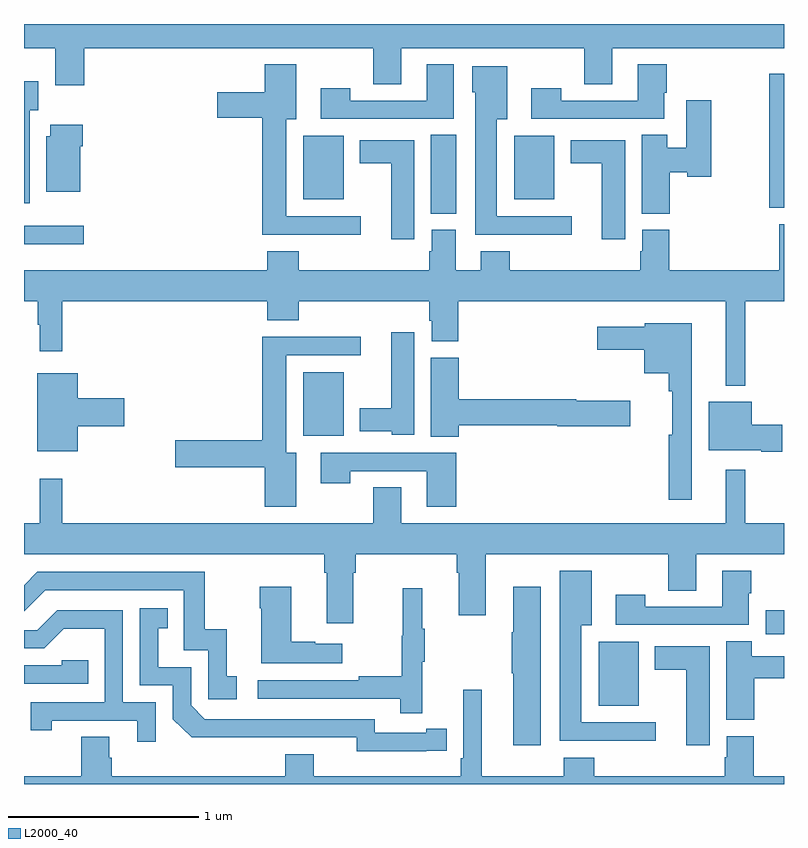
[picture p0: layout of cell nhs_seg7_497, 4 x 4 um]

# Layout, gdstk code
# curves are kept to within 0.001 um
import gdstk
lib = gdstk.Library(unit=1e-6, precision=1e-09)
def R(c, l, rs):  # rectangles x0, y0, x1, y1
    for r in rs: c.add(gdstk.rectangle(r[:2], r[2:], *l))
def P(c, l, *ps):  # polygons
    for p in ps: c.add(gdstk.Polygon(p, *l))
L2000_40 = (2000, 40)

nhs_seg7_497 = lib.new_cell('nhs_seg7_497')
R(nhs_seg7_497, L2000_40, [(152.024,1074.413,152.236,1074.748), (152.904,1074.788,153,1074.915), (150.47,1075.832,150.682,1076.167), (149,1076.84,149.314,1076.937), (151.142,1077.001,151.276,1077.416), (152.923,1077.032,153,1077.739), (150.47,1077.077,150.682,1077.412), (151.58,1077.077,151.792,1077.412)])
P(nhs_seg7_497, L2000_40, [(149.318,1077.872),(150.838,1077.872),(150.838,1077.682),(150.985,1077.682),(150.985,1077.872),(151.948,1077.872),(151.948,1077.682),(152.095,1077.682),(152.095,1077.872),(153,1077.872),(153,1078),(149,1078),(149,1077.872),(149.165,1077.872),(149.165,1077.678),(149.318,1077.678)],
  [(152.371,1077.639),(152.384,1077.639),(152.384,1077.787),(152.231,1077.787),(152.231,1077.597),(151.827,1077.597),(151.827,1077.661),(151.671,1077.661),(151.671,1077.501),(152.371,1077.501)],
  [(151.261,1077.787),(151.121,1077.787),(151.121,1077.597),(150.717,1077.597),(150.717,1077.661),(150.561,1077.661),(150.561,1077.501),(151.261,1077.501)],
  [(150.772,1076.988),(150.379,1076.988),(150.379,1077.5),(150.433,1077.5),(150.433,1077.787),(150.266,1077.787),(150.266,1077.64),(150.018,1077.64),(150.018,1077.506),(150.254,1077.506),(150.254,1076.891),(150.772,1076.891)],
  [(151.882,1076.988),(151.489,1076.988),(151.489,1077.5),(151.543,1077.5),(151.543,1077.778),(151.358,1077.778),(151.358,1077.642),(151.376,1077.642),(151.376,1076.891),(151.882,1076.891)],
  [(149.029,1077.546),(149.074,1077.546),(149.074,1077.7),(149,1077.7),(149,1077.057),(149.029,1077.057)],
  [(152.399,1077.22),(152.49,1077.22),(152.49,1077.197),(152.616,1077.197),(152.616,1077.598),(152.486,1077.598),(152.486,1077.349),(152.386,1077.349),(152.386,1077.416),(152.252,1077.416),(152.252,1077.001),(152.399,1077.001)],
  [(149.296,1077.356),(149.309,1077.356),(149.309,1077.469),(149.138,1077.469),(149.138,1077.408),(149.117,1077.408),(149.117,1077.116),(149.296,1077.116)],
  [(152.164,1077.388),(151.877,1077.388),(151.877,1077.266),(152.042,1077.266),(152.042,1076.868),(152.164,1076.868)],
  [(151.054,1077.388),(150.767,1077.388),(150.767,1077.266),(150.932,1077.266),(150.932,1076.868),(151.054,1076.868)],
  [(152.797,1076.54),(153,1076.54),(153,1076.947),(152.975,1076.947),(152.975,1076.704),(152.396,1076.704),(152.396,1076.916),(152.255,1076.916),(152.255,1076.805),(152.243,1076.805),(152.243,1076.704),(151.556,1076.704),(151.556,1076.803),(151.403,1076.803),(151.403,1076.704),(151.273,1076.704),(151.273,1076.916),(151.145,1076.916),(151.145,1076.805),(151.133,1076.805),(151.133,1076.704),(150.446,1076.704),(150.446,1076.803),(150.281,1076.803),(150.281,1076.704),(149,1076.704),(149,1076.54),(149.073,1076.54),(149.073,1076.417),(149.084,1076.417),(149.084,1076.277),(149.201,1076.277),(149.201,1076.54),(150.281,1076.54),(150.281,1076.441),(150.446,1076.441),(150.446,1076.54),(151.133,1076.54),(151.133,1076.439),(151.145,1076.439),(151.145,1076.329),(151.286,1076.329),(151.286,1076.54),(152.693,1076.54),(152.693,1076.096),(152.797,1076.096)],
  [(152.515,1076.425),(152.268,1076.425),(152.268,1076.407),(152.016,1076.407),(152.016,1076.285),(152.264,1076.285),(152.264,1076.162),(152.394,1076.162),(152.394,1076.066),(152.411,1076.066),(152.411,1075.838),(152.394,1075.838),(152.394,1075.497),(152.515,1075.497)],
  [(151.054,1076.377),(150.932,1076.377),(150.932,1075.978),(150.767,1075.978),(150.767,1075.856),(150.936,1075.856),(150.936,1075.838),(151.054,1075.838)],
  [(150.433,1075.744),(150.379,1075.744),(150.379,1076.256),(150.772,1076.256),(150.772,1076.354),(150.254,1076.354),(150.254,1075.808),(149.796,1075.808),(149.796,1075.666),(150.266,1075.666),(150.266,1075.458),(150.433,1075.458)],
  [(151.289,1075.888),(151.806,1075.888),(151.806,1075.883),(152.191,1075.883),(152.191,1076.017),(151.906,1076.017),(151.906,1076.024),(151.289,1076.024),(151.289,1076.244),(151.142,1076.244),(151.142,1075.828),(151.289,1075.828)],
  [(149.284,1075.883),(149.527,1075.883),(149.527,1076.03),(149.284,1076.03),(149.284,1076.161),(149.069,1076.161),(149.069,1075.751),(149.284,1075.751)],
  [(152.992,1075.892),(152.83,1075.892),(152.83,1076.011),(152.603,1076.011),(152.603,1075.757),(152.879,1075.757),(152.879,1075.75),(152.992,1075.75)],
  [(151.274,1075.743),(150.561,1075.743),(150.561,1075.584),(150.717,1075.584),(150.717,1075.647),(151.121,1075.647),(151.121,1075.458),(151.274,1075.458)],
  [(150.733,1075.112),(150.746,1075.112),(150.746,1075.208),(151.277,1075.208),(151.277,1075.112),(151.289,1075.112),(151.289,1074.888),(151.429,1074.888),(151.429,1075.208),(152.392,1075.208),(152.392,1075.018),(152.539,1075.018),(152.539,1075.208),(153,1075.208),(153,1075.372),(152.797,1075.372),(152.797,1075.654),(152.693,1075.654),(152.693,1075.372),(150.985,1075.372),(150.985,1075.562),(150.838,1075.562),(150.838,1075.372),(149.201,1075.372),(149.201,1075.606),(149.084,1075.606),(149.084,1075.372),(149,1075.372),(149,1075.208),(150.581,1075.208),(150.581,1075.112),(150.593,1075.112),(150.593,1074.846),(150.733,1074.846)],
  [(152.815,1075.003),(152.828,1075.003),(152.828,1075.123),(152.675,1075.123),(152.675,1074.933),(152.271,1074.933),(152.271,1074.997),(152.115,1074.997),(152.115,1074.837),(152.815,1074.837)],
  [(152.326,1074.324),(151.933,1074.324),(151.933,1074.836),(151.987,1074.836),(151.987,1075.123),(151.82,1075.123),(151.82,1074.227),(152.326,1074.227)],
  [(150.121,1074.567),(150.068,1074.567),(150.068,1074.814),(149.95,1074.814),(149.95,1075.116),(149.07,1075.116),(149,1075.046),(149,1074.908),(149.112,1075.02),(149.841,1075.02),(149.841,1074.705),(149.97,1074.705),(149.97,1074.447),(150.121,1074.447)],
  [(150.676,1074.739),(150.533,1074.739),(150.533,1074.749),(150.406,1074.749),(150.406,1075.039),(150.241,1075.039),(150.241,1074.926),(150.248,1074.926),(150.248,1074.635),(150.676,1074.635)],
  [(151.72,1075.039),(151.574,1075.039),(151.574,1074.8),(151.567,1074.8),(151.567,1074.583),(151.574,1074.583),(151.574,1074.204),(151.72,1074.204)],
  [(151.097,1074.643),(151.108,1074.643),(151.108,1074.817),(151.097,1074.817),(151.097,1075.03),(150.994,1075.03),(150.994,1074.78),(150.987,1074.78),(150.987,1074.566),(150.763,1074.566),(150.763,1074.546),(150.231,1074.546),(150.231,1074.45),(150.979,1074.45),(150.979,1074.372),(151.097,1074.372)],
  [(151.118,1074.174),(151.226,1074.174),(151.226,1074.29),(151.118,1074.29),(151.118,1074.27),(150.846,1074.27),(150.846,1074.342),(149.952,1074.342),(149.88,1074.414),(149.88,1074.615),(149.707,1074.615),(149.707,1074.819),(149.756,1074.819),(149.756,1074.925),(149.61,1074.925),(149.61,1074.519),(149.784,1074.519),(149.784,1074.342),(149.882,1074.245),(150.75,1074.246),(150.75,1074.173)],
  [(149.694,1074.429),(149.52,1074.429),(149.52,1074.915),(149.174,1074.915),(149.069,1074.81),(149,1074.81),(149,1074.714),(149.106,1074.714),(149.21,1074.818),(149.424,1074.818),(149.424,1074.429),(149.035,1074.429),(149.035,1074.282),(149.146,1074.282),(149.146,1074.333),(149.597,1074.333),(149.597,1074.222),(149.694,1074.222)],
  [(152.843,1074.556),(153,1074.556),(153,1074.672),(152.831,1074.672),(152.831,1074.752),(152.696,1074.752),(152.696,1074.337),(152.843,1074.337)],
  [(152.608,1074.724),(152.321,1074.724),(152.321,1074.602),(152.486,1074.602),(152.486,1074.204),(152.608,1074.204)],
  [(149.339,1074.651),(149.199,1074.651),(149.199,1074.624),(149,1074.624),(149,1074.528),(149.339,1074.528)],
  [(153,1074.04),(152.84,1074.04),(152.84,1074.252),(152.699,1074.252),(152.699,1074.141),(152.687,1074.141),(152.687,1074.04),(152,1074.04),(152,1074.139),(151.84,1074.139),(151.84,1074.04),(151.408,1074.04),(151.408,1074.496),(151.311,1074.496),(151.311,1074.136),(151.298,1074.136),(151.298,1074.04),(150.526,1074.04),(150.526,1074.157),(150.374,1074.157),(150.374,1074.04),(149.462,1074.04),(149.462,1074.138),(149.449,1074.138),(149.449,1074.248),(149.302,1074.248),(149.302,1074.04),(149,1074.04),(149,1074),(153,1074)])

lib.write_gds('nhs_seg7_497.gds')
